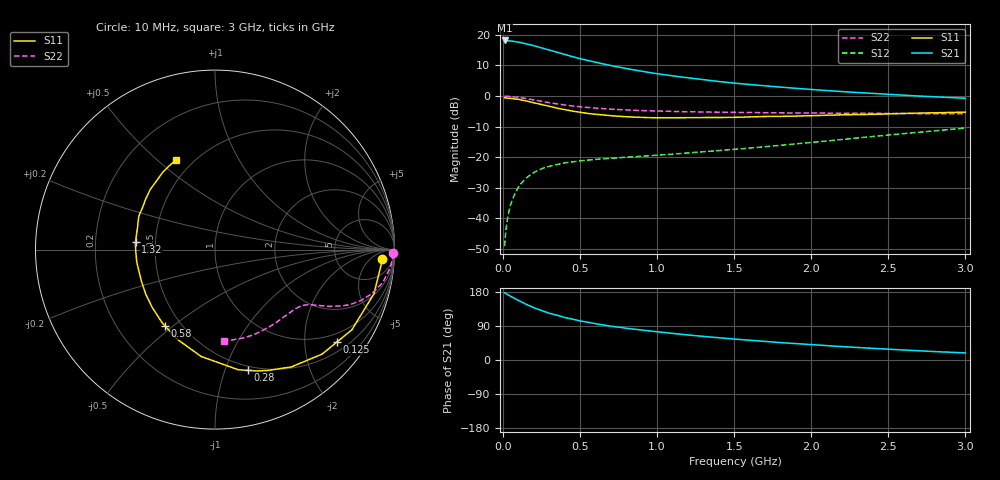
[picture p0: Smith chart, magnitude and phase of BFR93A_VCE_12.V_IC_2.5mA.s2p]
! Infineon Technologies  Discrete & RF Semiconductors
! BFR93A
! VCE =  12. V,  IC =  2.5 mA
! Common Emitter S-Parameters:  Nov 2015
# GHz  S  MA  R  50
!  f  S11  S21  S12  S22
! GHz  MAG  ANG  MAG  ANG  MAG  ANG  MAG  ANG
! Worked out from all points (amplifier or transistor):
!   180 points, 10 MHz to 3 GHz, reference 50 ohm
!   highest |S21| = 18.2 dB at 10 MHz (marker M1)
!   |S21| within 3 dB of that: start of sweep to 290.1 MHz
!   unconditionally stable (mu >= 1): 943.7 MHz to 2.496 GHz
!   at 160 MHz: K = 0.22, MSG = 21.7 dB, |S12| = -26.4 dB
!   at 1.22 GHz: K = 1.11, MAG = 10.2 dB, |S12| = -18.6 dB
!   at 3 GHz: K = 0.90, MSG = 4.9 dB, |S12| = -10.5 dB
!   S11 on the Smith chart (normalised r, x): 10 MHz: 18, -14; 125 MHz: 0.75, -2.80; 280 MHz: 0.46, -1.20; 580 MHz: 0.41, -0.47; 1.32 GHz: 0.38, +0.04; 3 GHz: 0.41, +0.58
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0.01  0.9335 -3.1  8.1 177.3  0.0035 87.3  0.9946 -1.2
0.025  0.9242 -7.8  8.055 173.7  0.0086 83.5  0.9906 -3.0
0.05  0.9193 -15.5  7.968 167.9  0.0169 81.1  0.982 -5.9
0.1  0.8837 -30.4  7.626 157.2  0.0325 73.1  0.9518 -11.2
0.125  0.8524 -37.1  7.36 152.2  0.039 69.1  0.9289 -13.4
0.15  0.8337 -44.3  7.155 146.8  0.0456 66.2  0.9075 -15.7
0.2  0.7796 -57.0  6.654 138.0  0.0562 60.7  0.8627 -19.1
0.24  0.7357 -66.2  6.223 131.7  0.0629 56.6  0.8262 -21.3
0.28  0.6976 -74.7  5.828 126.2  0.0684 53.5  0.7931 -23.0
0.3  0.6821 -79.0  5.644 123.4  0.071 52.2  0.7771 -23.8
0.4  0.6008 -97.3  4.762 112.1  0.0807 47.6  0.7113 -26.4
0.5  0.5426 -112.6  4.081 103.0  0.087 44.7  0.6656 -28.0
0.52  0.5325 -115.1  3.972 101.7  0.088 44.5  0.659 -28.2
0.58  0.5086 -123.0  3.657 97.3  0.091 43.8  0.6392 -29.0
0.7  0.4762 -137.0  3.142 89.2  0.096 43.6  0.6088 -30.3
0.8  0.4592 -146.9  2.807 83.8  0.0997 44.2  0.5912 -31.4
1.02  0.4404 -165.5  2.277 73.5  0.1084 46.6  0.5658 -34.4
1.32  0.4449 174.6  1.824 61.5  0.1231 51.1  0.5469 -39.6
1.52  0.4486 164.4  1.605 54.6  0.1352 54.1  0.5374 -43.7
2.02  0.4788 143.5  1.27 40.1  0.1759 59.4  0.5254 -55.4
2.52  0.5112 126.9  1.057 28.1  0.2326 60.4  0.5183 -69.1
3  0.5453 113.2  0.918 18.7  0.2985 58.1  0.5119 -84.6
